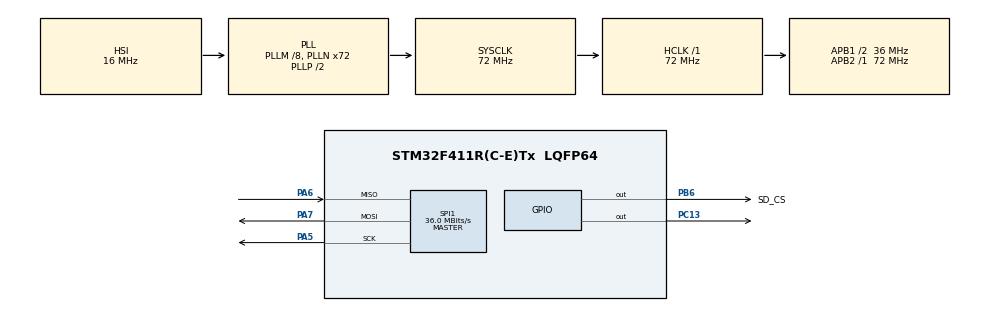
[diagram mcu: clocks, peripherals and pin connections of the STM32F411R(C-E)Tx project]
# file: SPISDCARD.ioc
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FATFS._MAX_SS=4096
Mcu.Family=STM32F4
Mcu.Name=STM32F411R(C-E)Tx
Mcu.Package=LQFP64
NVIC.PriorityGroup=NVIC_PRIORITYGROUP_4
PA5.Mode=Full_Duplex_Master
PA5.Signal=SPI1_SCK
PA6.Mode=Full_Duplex_Master
PA6.Signal=SPI1_MISO
PA7.Mode=Full_Duplex_Master
PA7.Signal=SPI1_MOSI
PB6.GPIO_Label=SD_CS
PB6.GPIO_Speed=GPIO_SPEED_FREQ_VERY_HIGH
PB6.PinState=GPIO_PIN_SET
PB6.Signal=GPIO_Output
PC13-ANTI_TAMP.Signal=GPIO_Output
ProjectManager.HeapSize=0x2000
ProjectManager.StackSize=0x4000
ProjectManager.TargetToolchain=EWARM V8
RCC.48MHZClocksFreq_Value=36000000
RCC.AHBFreq_Value=72000000
RCC.APB1CLKDivider=RCC_HCLK_DIV2
RCC.APB1Freq_Value=36000000
RCC.APB1TimFreq_Value=72000000
RCC.APB2Freq_Value=72000000
RCC.APB2TimFreq_Value=72000000
RCC.CortexFreq_Value=72000000
RCC.HCLKFreq_Value=72000000
RCC.HSE_VALUE=25000000
RCC.HSI_VALUE=16000000
RCC.LSE_VALUE=32768
RCC.PLLM=8
RCC.PLLN=72
RCC.SYSCLKFreq_VALUE=72000000
RCC.SYSCLKSource=RCC_SYSCLKSOURCE_PLLCLK
RCC.VCOOutputFreq_Value=144000000
SPI1.CalculateBaudRate=36.0 MBits/s
SPI1.Direction=SPI_DIRECTION_2LINES
SPI1.Mode=SPI_MODE_MASTER
SPI1.VirtualType=VM_MASTER
VP_FATFS_VS_Generic.Mode=User_defined
board=custom

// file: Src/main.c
/* USER CODE BEGIN Header */
/**
  ******************************************************************************
  * @file           : main.c
  * @brief          : Main program body
  ******************************************************************************
  * This notice applies to any and all portions of this file
  * that are not between comment pairs USER CODE BEGIN and
  * USER CODE END. Other portions of this file, whether
  * inserted by the user or by software development tools
  * are owned by their respective copyright owners.
  *
  * Copyright (c) 2019 STMicroelectronics International N.V.
  * All rights reserved.
  *
  * Redistribution and use in source and binary forms, with or without
  * modification, are permitted, provided that the following conditions are met:
  *
  * 1. Redistribution of source code must retain the above copyright notice,
  *    this list of conditions and the following disclaimer.
  * 2. Redistributions in binary form must reproduce the above copyright notice,
  *    this list of conditions and the following disclaimer in the documentation
  *    and/or other materials provided with the distribution.
  * 3. Neither the name of STMicroelectronics nor the names of other
  *    contributors to this software may be used to endorse or promote products
  *    derived from this software without specific written permission.
  * 4. This software, including modifications and/or derivative works of this
  *    software, must execute solely and exclusively on microcontroller or
  *    microprocessor devices manufactured by or for STMicroelectronics.
  * 5. Redistribution and use of this software other than as permitted under
  *    this license is void and will automatically terminate your rights under
  *    this license.
  *
  * THIS SOFTWARE IS PROVIDED BY STMICROELECTRONICS AND CONTRIBUTORS "AS IS"
  * AND ANY EXPRESS, IMPLIED OR STATUTORY WARRANTIES, INCLUDING, BUT NOT
  * LIMITED TO, THE IMPLIED WARRANTIES OF MERCHANTABILITY, FITNESS FOR A
  * PARTICULAR PURPOSE AND NON-INFRINGEMENT OF THIRD PARTY INTELLECTUAL PROPERTY
  * RIGHTS ARE DISCLAIMED TO THE FULLEST EXTENT PERMITTED BY LAW. IN NO EVENT
  * SHALL STMICROELECTRONICS OR CONTRIBUTORS BE LIABLE FOR ANY DIRECT, INDIRECT,
  * INCIDENTAL, SPECIAL, EXEMPLARY, OR CONSEQUENTIAL DAMAGES (INCLUDING, BUT NOT
  * LIMITED TO, PROCUREMENT OF SUBSTITUTE GOODS OR SERVICES; LOSS OF USE, DATA,
  * OR PROFITS; OR BUSINESS INTERRUPTION) HOWEVER CAUSED AND ON ANY THEORY OF
  * LIABILITY, WHETHER IN CONTRACT, STRICT LIABILITY, OR TORT (INCLUDING
  * NEGLIGENCE OR OTHERWISE) ARISING IN ANY WAY OUT OF THE USE OF THIS SOFTWARE,
  * EVEN IF ADVISED OF THE POSSIBILITY OF SUCH DAMAGE.
  *
  ******************************************************************************
  */
/* USER CODE END Header */

#include "main.h"
#include "fatfs.h"

/* USER CODE BEGIN Includes */
#include "fatfs.h"
/* USER CODE END Includes */

SPI_HandleTypeDef hspi1;

/* USER CODE BEGIN PV */
FATFS fs;
FATFS *pfs;
FIL fil;
FRESULT fres;
DWORD fre_clust;
uint32_t total, free;
char buffer[100];
volatile uint8_t Timer1, Timer2;
/* USER CODE END PV */

void SystemClock_Config(void);
static void MX_GPIO_Init(void);
static void MX_SPI1_Init(void);

int main(void)
{

  /* MCU Configuration--------------------------------------------------------*/

  /* Reset of all peripherals, Initializes the Flash interface and the Systick. */
  HAL_Init();

  /* Configure the system clock */
  SystemClock_Config();

  /* Initialize all configured peripherals */
  MX_GPIO_Init();
  MX_SPI1_Init();
  MX_FATFS_Init();
  /* USER CODE BEGIN 2 */
  /* Mount SD Card */
  if(f_mount(&fs, "", 0) != FR_OK)
    Error_Handler();

  /* Open file to write */
  if(f_open(&fil, "first.txt", FA_OPEN_ALWAYS | FA_READ | FA_WRITE) != FR_OK)
    Error_Handler();

  /* Check free space */
  if(f_getfree("", &fre_clust, &pfs) != FR_OK)
    Error_Handler();

  total = (uint32_t)((pfs->n_fatent - 2) * pfs->csize * 0.5);
  free = (uint32_t)(fre_clust * pfs->csize * 0.5);

  /* Free space is less than 1kb */
  if(free < 1)
    Error_Handler();

  /* Writing text */
  f_puts("STM32 SD Card I/O Example via SPI\n", &fil);
  f_puts("Save the world!!!", &fil);

  /* Close file */
  if(f_close(&fil) != FR_OK)
    Error_Handler();

  /* Open file to read */
  if(f_open(&fil, "first.txt", FA_READ) != FR_OK)
    Error_Handler();

  while(f_gets(buffer, sizeof(buffer), &fil))
  {
    //printf("%s", buffer);
  }

  /* Close file */
  if(f_close(&fil) != FR_OK)
    Error_Handler();

  /* Unmount SDCARD */
  if(f_mount(NULL, "", 1) != FR_OK)
    Error_Handler();
  /* USER CODE END 2 */

  /* Infinite loop */
  while (1)
  {

  }
}

void SystemClock_Config(void)
{
  RCC_OscInitTypeDef RCC_OscInitStruct = {0};
  RCC_ClkInitTypeDef RCC_ClkInitStruct = {0};

  /**Configure the main internal regulator output voltage
  */
  __HAL_RCC_PWR_CLK_ENABLE();
  __HAL_PWR_VOLTAGESCALING_CONFIG(PWR_REGULATOR_VOLTAGE_SCALE1);
  /**Initializes the CPU, AHB and APB busses clocks
  */
  RCC_OscInitStruct.OscillatorType = RCC_OSCILLATORTYPE_HSI;
  RCC_OscInitStruct.HSIState = RCC_HSI_ON;
  RCC_OscInitStruct.HSICalibrationValue = RCC_HSICALIBRATION_DEFAULT;
  RCC_OscInitStruct.PLL.PLLState = RCC_PLL_ON;
  RCC_OscInitStruct.PLL.PLLSource = RCC_PLLSOURCE_HSI;
  RCC_OscInitStruct.PLL.PLLM = 8;
  RCC_OscInitStruct.PLL.PLLN = 72;
  RCC_OscInitStruct.PLL.PLLP = RCC_PLLP_DIV2;
  RCC_OscInitStruct.PLL.PLLQ = 4;
  if (HAL_RCC_OscConfig(&RCC_OscInitStruct) != HAL_OK)
  {
    Error_Handler();
  }
  /**Initializes the CPU, AHB and APB busses clocks
  */
  RCC_ClkInitStruct.ClockType = RCC_CLOCKTYPE_HCLK|RCC_CLOCKTYPE_SYSCLK
                              |RCC_CLOCKTYPE_PCLK1|RCC_CLOCKTYPE_PCLK2;
  RCC_ClkInitStruct.SYSCLKSource = RCC_SYSCLKSOURCE_PLLCLK;
  RCC_ClkInitStruct.AHBCLKDivider = RCC_SYSCLK_DIV1;
  RCC_ClkInitStruct.APB1CLKDivider = RCC_HCLK_DIV2;
  RCC_ClkInitStruct.APB2CLKDivider = RCC_HCLK_DIV1;

  if (HAL_RCC_ClockConfig(&RCC_ClkInitStruct, FLASH_LATENCY_2) != HAL_OK)
  {
    Error_Handler();
  }
}

static void MX_SPI1_Init(void)
{

  /* SPI1 parameter configuration*/
  hspi1.Instance = SPI1;
  hspi1.Init.Mode = SPI_MODE_MASTER;
  hspi1.Init.Direction = SPI_DIRECTION_2LINES;
  hspi1.Init.DataSize = SPI_DATASIZE_8BIT;
  hspi1.Init.CLKPolarity = SPI_POLARITY_LOW;
  hspi1.Init.CLKPhase = SPI_PHASE_1EDGE;
  hspi1.Init.NSS = SPI_NSS_SOFT;
  hspi1.Init.BaudRatePrescaler = SPI_BAUDRATEPRESCALER_2;
  hspi1.Init.FirstBit = SPI_FIRSTBIT_MSB;
  hspi1.Init.TIMode = SPI_TIMODE_DISABLE;
  hspi1.Init.CRCCalculation = SPI_CRCCALCULATION_DISABLE;
  hspi1.Init.CRCPolynomial = 10;
  if (HAL_SPI_Init(&hspi1) != HAL_OK)
  {
    Error_Handler();
  }

}

static void MX_GPIO_Init(void)
{
  GPIO_InitTypeDef GPIO_InitStruct = {0};

  /* GPIO Ports Clock Enable */
  __HAL_RCC_GPIOC_CLK_ENABLE();
  __HAL_RCC_GPIOA_CLK_ENABLE();
  __HAL_RCC_GPIOB_CLK_ENABLE();

  /*Configure GPIO pin Output Level */
  HAL_GPIO_WritePin(GPIOC, GPIO_PIN_13, GPIO_PIN_RESET);

  /*Configure GPIO pin Output Level */
  HAL_GPIO_WritePin(SD_CS_GPIO_Port, SD_CS_Pin, GPIO_PIN_SET);

  /*Configure GPIO pin : PC13 */
  GPIO_InitStruct.Pin = GPIO_PIN_13;
  GPIO_InitStruct.Mode = GPIO_MODE_OUTPUT_PP;
  GPIO_InitStruct.Pull = GPIO_NOPULL;
  GPIO_InitStruct.Speed = GPIO_SPEED_FREQ_LOW;
  HAL_GPIO_Init(GPIOC, &GPIO_InitStruct);

  /*Configure GPIO pin : SD_CS_Pin */
  GPIO_InitStruct.Pin = SD_CS_Pin;
  GPIO_InitStruct.Mode = GPIO_MODE_OUTPUT_PP;
  GPIO_InitStruct.Pull = GPIO_NOPULL;
  GPIO_InitStruct.Speed = GPIO_SPEED_FREQ_VERY_HIGH;
  HAL_GPIO_Init(SD_CS_GPIO_Port, &GPIO_InitStruct);

}

void Error_Handler(void)
{
}

/************************ (C) COPYRIGHT STMicroelectronics *****END OF FILE****/
